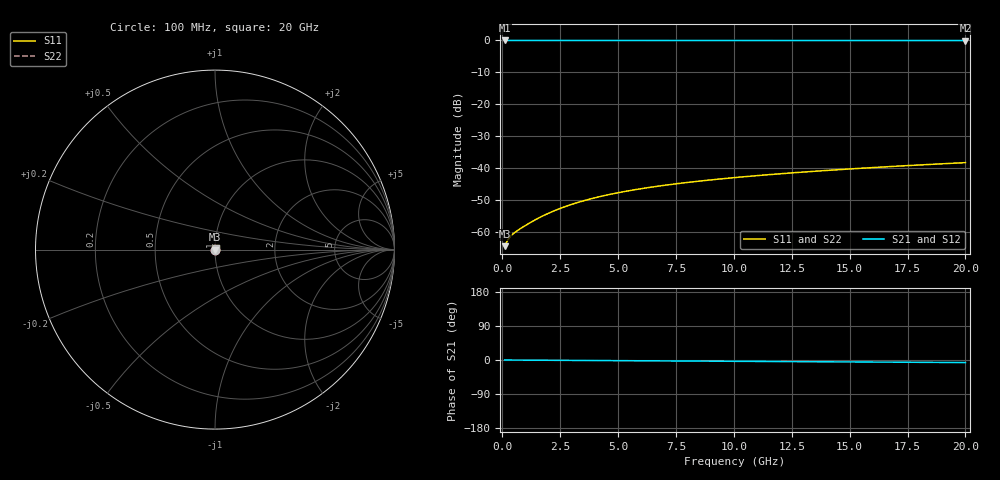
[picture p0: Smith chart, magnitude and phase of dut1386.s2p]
! Touchstone file exported from HFSS 2026.1.0
!  File:  C:/ffzhzh/LocalFiles/Ansys_Project_Files/temp_train_TMRDL_1386_1783166114_22436.aedt
!  Generated:  07:56:18 PM Jul  4, 2026
!  Design:  TMRDL
!  Project:  temp_train_TMRDL_1386_1783166114_22436
! Variables:
!  h_bsmrdl = 2um
!  h_ox = 20um
!  h_rdl = 5um
!  h_sub = 80um
!  h_tmrdl = 4.21um
!  h_tsv = 80um
!  h_via = 3um
!  l_bsmrdl = 300um
!  l_sub = 505.54um
!  l_tmrdl = 105.54um
!  m_sub = 200um
!  pitch = 30.18um
!  r_tsv = 6um
!  s_tmrdl = 10um
!  w_bsmrdl = 18um
!  w_sub = 500um
!  w_tmrdl = 24.5um
!  x_tsv_center1 = 117.79um
!  x_tsv_center2 = 435.79um
!  x_tsv_center3 = 565.83um
!  x_tsv_center4 = 883.83um
!  x_tsv_center5 = 1013.87um
!  x_tsv_center6 = 1331.87um
# GHz S MA R 50.000000
! Terminal data exported
! Port[1] = TM_RDL1_1_T1
! Port[2] = TM_RDL1_1_T2
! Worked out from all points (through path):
!   200 points, 100 MHz to 20 GHz, reference 50 ohm
!   highest |S21| = 0.00 dB at 100 MHz (marker M1); lowest = 0.0 dB at 20 GHz (marker M2)
!   lowest |S11| = -64.4 dB at 100 MHz (marker M3), VSWR 1.00, Z = 50.1 + j0.0174 ohm
!   |S11| at or under -10 dB: start of sweep to end of sweep
!   |S22| runs from -64.4 to -38.3 dB; largest |S21 - S12| = 5.4e-15
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0.1  0.0006001 16.9  0.9994 -0.0  0.9994 -0.0  0.0006001 16.9
! Gamma 0 0 0 0
! Port Impedance 50 0 50 0
0.2  0.0007078 25.8  0.9994 -0.1  0.9994 -0.1  0.0007078 25.8
0.3  0.0008071 30.2  0.9993 -0.1  0.9993 -0.1  0.0008071 30.2
0.4  0.0008881 33.1  0.9993 -0.1  0.9993 -0.1  0.0008881 33.1
0.5  0.0009571 35.6  0.9992 -0.2  0.9992 -0.2  0.0009571 35.6
0.7  0.001081 40.4  0.9992 -0.3  0.9992 -0.3  0.001081 40.4
1.2  0.001399 50.2  0.9991 -0.4  0.9991 -0.4  0.001399 50.2
1.7  0.001749 56.6  0.999 -0.6  0.999 -0.6  0.001749 56.6
2  0.001969 59.1  0.999 -0.7  0.999 -0.7  0.001969 59.1
2.3  0.002191 61.0  0.999 -0.8  0.999 -0.8  0.002192 61.0
2.9  0.002638 63.5  0.9989 -1.0  0.9989 -1.0  0.002638 63.5
3.5  0.003078 64.9  0.9988 -1.2  0.9988 -1.2  0.003078 64.9
4.2  0.003576 65.8  0.9986 -1.5  0.9986 -1.5  0.003576 65.8
5  0.004122 66.3  0.9985 -1.7  0.9985 -1.7  0.004122 66.3
5.9  0.004708 66.6  0.9983 -2.0  0.9983 -2.0  0.004708 66.5
6.8  0.005267 66.6  0.9981 -2.3  0.9981 -2.3  0.005267 66.6
8.3  0.00615 66.7  0.9978 -2.9  0.9978 -2.9  0.00615 66.7
10.1  0.007152 66.7  0.9975 -3.5  0.9975 -3.5  0.007152 66.6
11.7  0.008009 66.6  0.9973 -4.0  0.9973 -4.0  0.008009 66.6
13.4  0.008895 66.6  0.9971 -4.6  0.9971 -4.6  0.008895 66.6
16.7  0.01057 66.5  0.9967 -5.6  0.9967 -5.6  0.01057 66.5
20  0.0122 66.2  0.9963 -6.7  0.9963 -6.7  0.0122 66.2
